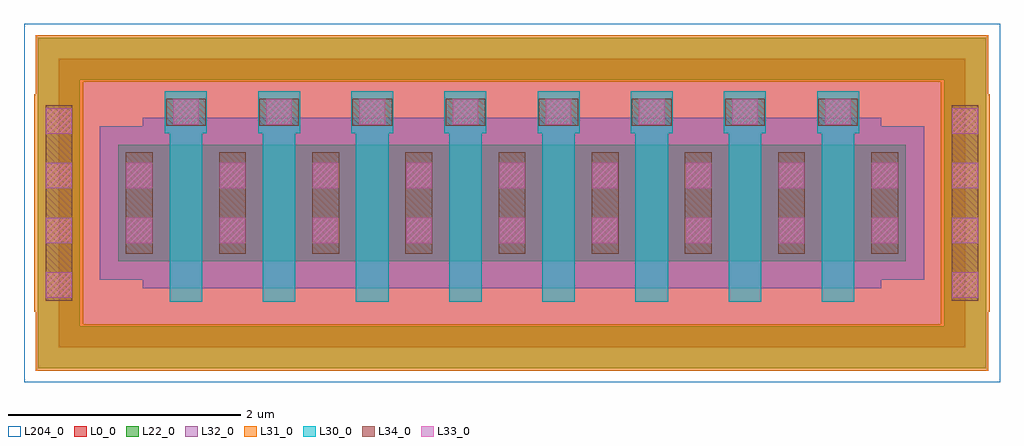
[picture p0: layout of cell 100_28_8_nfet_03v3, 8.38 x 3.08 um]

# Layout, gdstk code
import gdstk
lib = gdstk.Library(unit=1e-6, precision=1e-09)
def R(c, l, rs):  # rectangles x0, y0, x1, y1
    for r in rs: c.add(gdstk.rectangle(r[:2], r[2:], *l))
def A(c, l, x, y, w, h, nx, ny, dx, dy):  # array of equal rectangles
    R(c, l, [(x+i*dx, y+j*dy, x+i*dx+w, y+j*dy+h) for i in range(nx) for j in range(ny)])
L0_0 = (0, 0)
L22_0 = (22, 0)
L30_0 = (30, 0)
L31_0 = (31, 0)
L32_0 = (32, 0)
L33_0 = (33, 0)
L34_0 = (34, 0)
L204_0 = (204, 0)

c_100_28_8_nfet_03v3 = lib.new_cell('100_28_8_nfet_03v3')
R(c_100_28_8_nfet_03v3, L0_0, [(-3.89,-1.24,3.89,1.24)])
R(c_100_28_8_nfet_03v3, L22_0, [(-4.07,-1.42,4.07,-1.06), (-4.07,-1.06,-3.71,1.06), (3.71,-1.06,4.07,1.06), (-3.38,-0.5,3.38,0.5), (-4.07,1.06,4.07,1.42)])
A(c_100_28_8_nfet_03v3, L30_0, -2.94, -0.85, 0.28, 1.45, 8, 1, 0.8, 0)
A(c_100_28_8_nfet_03v3, L30_0, -2.98, 0.6, 0.36, 0.36, 8, 1, 0.8, 0)
R(c_100_28_8_nfet_03v3, L31_0, [(-4.09,-1.44,4.09,-1.04), (-4.09,-1.04,-3.68,-0.935), (3.68,-1.04,4.09,-0.935), (-4.1,-0.935,-3.68,0.935), (3.68,-0.935,4.1,0.935), (-4.09,0.935,-3.68,1.04), (3.68,0.935,4.09,1.04), (-4.09,1.04,4.09,1.44)])
R(c_100_28_8_nfet_03v3, L32_0, [(-3.17,-0.73,3.17,-0.66), (-3.54,-0.66,3.54,0.66), (-3.17,0.66,3.17,0.73)])
A(c_100_28_8_nfet_03v3, L33_0, -4, -0.815, 0.22, 0.22, 1, 4, 0, 0.47)
A(c_100_28_8_nfet_03v3, L33_0, 3.78, -0.815, 0.22, 0.22, 1, 4, 0, 0.47)
A(c_100_28_8_nfet_03v3, L33_0, -3.31, -0.345, 0.22, 0.22, 9, 2, 0.8, 0.47)
A(c_100_28_8_nfet_03v3, L33_0, -2.91, 0.67, 0.22, 0.22, 8, 1, 0.8, 0)
A(c_100_28_8_nfet_03v3, L34_0, -3.315, -0.435, 0.23, 0.87, 9, 1, 0.8, 0)
A(c_100_28_8_nfet_03v3, L34_0, -2.97, 0.665, 0.34, 0.23, 8, 1, 0.8, 0)
R(c_100_28_8_nfet_03v3, L34_0, [(-4.005,-0.84,-3.775,0.84), (3.775,-0.84,4.005,0.84)])
R(c_100_28_8_nfet_03v3, L204_0, [(-4.19,-1.54,4.19,1.54)])

lib.write_gds('100_28_8_nfet_03v3.gds')
